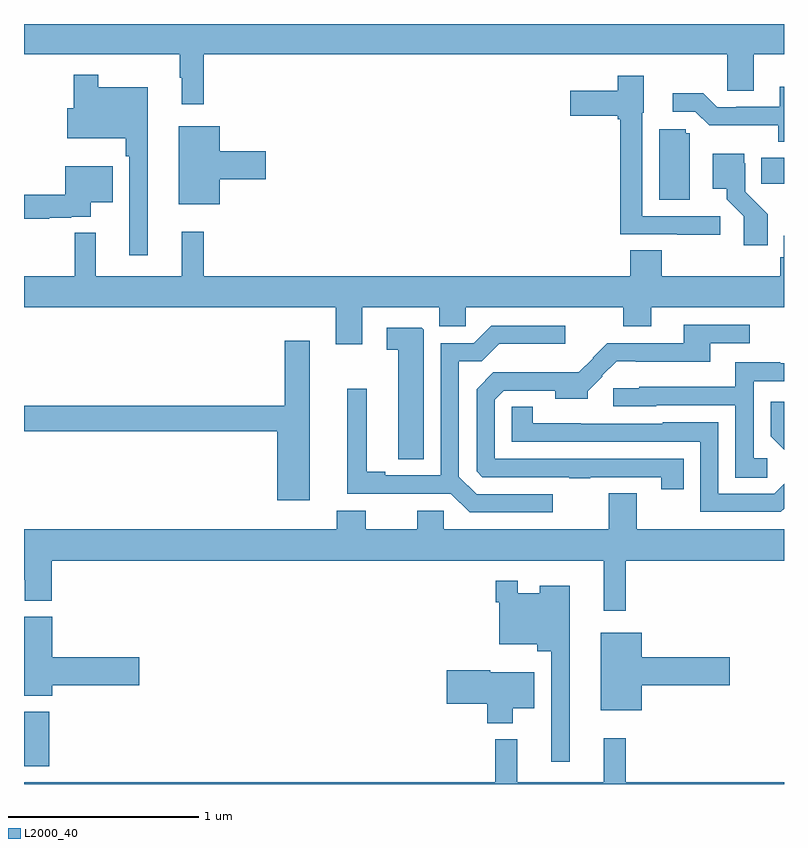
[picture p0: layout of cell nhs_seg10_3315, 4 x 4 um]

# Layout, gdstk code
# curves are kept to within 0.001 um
import gdstk
lib = gdstk.Library(unit=1e-6, precision=1e-09)
def R(c, l, rs):  # rectangles x0, y0, x1, y1
    for r in rs: c.add(gdstk.rectangle(r[:2], r[2:], *l))
def P(c, l, *ps):  # polygons
    for p in ps: c.add(gdstk.Polygon(p, *l))
L2000_40 = (2000, 40)

nhs_seg10_3315 = lib.new_cell('nhs_seg10_3315')
R(nhs_seg10_3315, L2000_40, [(291,1272.594,291.134,1272.879), (294.88,1275.658,295,1275.796)])
P(nhs_seg10_3315, L2000_40, [(291.947,1276.34),(294.702,1276.34),(294.702,1276.15),(294.841,1276.15),(294.841,1276.34),(295,1276.34),(295,1276.5),(291,1276.5),(291,1276.34),(291.819,1276.34),(291.819,1276.217),(291.83,1276.217),(291.83,1276.077),(291.947,1276.077)],
  [(291.652,1276.168),(291.391,1276.168),(291.391,1276.234),(291.262,1276.234),(291.262,1276.057),(291.228,1276.057),(291.228,1275.899),(291.535,1275.899),(291.535,1275.803),(291.555,1275.803),(291.555,1275.282),(291.652,1275.282)],
  [(294.664,1275.489),(294.255,1275.489),(294.255,1276.032),(294.262,1276.032),(294.262,1276.228),(294.126,1276.228),(294.126,1276.15),(293.874,1276.15),(293.874,1276.016),(294.126,1276.016),(294.126,1275.998),(294.139,1275.998),(294.139,1275.393),(294.439,1275.393),(294.439,1275.391),(294.664,1275.391)],
  [(295,1276.171),(294.977,1276.171),(294.977,1276.065),(294.748,1276.065),(294.748,1276.062),(294.648,1276.062),(294.575,1276.135),(294.414,1276.135),(294.414,1276.038),(294.534,1276.038),(294.607,1275.966),(294.97,1275.966),(294.97,1275.881),(295,1275.881)],
  [(292.03,1275.683),(292.273,1275.683),(292.273,1275.83),(292.03,1275.83),(292.03,1275.961),(291.815,1275.961),(291.815,1275.551),(292.03,1275.551)],
  [(294.505,1275.924),(294.483,1275.924),(294.483,1275.945),(294.344,1275.945),(294.344,1275.576),(294.505,1275.576)],
  [(294.914,1275.498),(294.795,1275.617),(294.795,1275.768),(294.79,1275.768),(294.79,1275.817),(294.626,1275.817),(294.626,1275.632),(294.698,1275.632),(294.698,1275.577),(294.789,1275.487),(294.789,1275.336),(294.914,1275.336)],
  [(291.134,1275.48),(291.248,1275.48),(291.248,1275.486),(291.352,1275.486),(291.352,1275.563),(291.466,1275.563),(291.466,1275.751),(291.218,1275.751),(291.218,1275.602),(291,1275.602),(291,1275.474),(291.134,1275.474)],
  [(292.78,1275.008),(293.186,1275.008),(293.186,1274.91),(293.325,1274.91),(293.325,1275.008),(294.154,1275.008),(294.154,1274.909),(294.301,1274.909),(294.301,1275.008),(295,1275.008),(295,1275.385),(294.999,1275.385),(294.999,1275.273),(294.979,1275.273),(294.979,1275.172),(294.356,1275.172),(294.356,1275.308),(294.191,1275.308),(294.191,1275.172),(291.947,1275.172),(291.947,1275.406),(291.83,1275.406),(291.83,1275.172),(291.377,1275.172),(291.377,1275.401),(291.268,1275.401),(291.268,1275.172),(291,1275.172),(291,1275.008),(292.64,1275.008),(292.64,1274.814),(292.78,1274.814)],
  [(294.473,1274.211),(293.478,1274.211),(293.478,1274.523),(293.526,1274.571),(293.795,1274.571),(293.795,1274.528),(293.966,1274.528),(293.966,1274.568),(294.045,1274.646),(294.042,1274.649),(294.119,1274.726),(294.22,1274.726),(294.22,1274.723),(294.613,1274.723),(294.613,1274.82),(294.82,1274.82),(294.82,1274.916),(294.473,1274.916),(294.473,1274.82),(294.069,1274.82),(293.993,1274.743),(293.995,1274.741),(293.921,1274.668),(293.587,1274.668),(293.587,1274.666),(293.471,1274.666),(293.382,1274.577),(293.382,1274.145),(293.412,1274.115),(293.869,1274.115),(293.869,1274.11),(293.981,1274.11),(293.981,1274.115),(294.355,1274.115),(294.355,1274.052),(294.473,1274.052)],
  [(293.782,1274.025),(293.382,1274.025),(293.289,1274.118),(293.289,1274.725),(293.41,1274.725),(293.501,1274.816),(293.848,1274.816),(293.848,1274.913),(293.46,1274.913),(293.367,1274.82),(293.193,1274.82),(293.193,1274.124),(292.9,1274.124),(292.9,1274.144),(292.804,1274.144),(292.804,1274.581),(292.7,1274.581),(292.7,1274.028),(293.246,1274.028),(293.345,1273.929),(293.782,1273.929)],
  [(293.104,1274.891),(293.094,1274.901),(292.908,1274.901),(292.908,1274.785),(292.97,1274.785),(292.97,1274.209),(293.104,1274.209)],
  [(292.504,1274.833),(292.373,1274.833),(292.373,1274.492),(291,1274.492),(291,1274.356),(292.334,1274.356),(292.334,1273.994),(292.504,1273.994)],
  [(294.913,1274.214),(294.84,1274.214),(294.84,1274.619),(295,1274.619),(295,1274.715),(294.979,1274.715),(294.979,1274.719),(294.743,1274.719),(294.743,1274.59),(294.237,1274.59),(294.237,1274.583),(294.102,1274.583),(294.102,1274.487),(294.327,1274.487),(294.327,1274.493),(294.744,1274.493),(294.744,1274.113),(294.913,1274.113)],
  [(295,1274.512),(294.93,1274.512),(294.93,1274.33),(295,1274.26)],
  [(295,1273.948),(295,1274.08),(294.948,1274.028),(294.654,1274.028),(294.654,1274.404),(294.363,1274.404),(294.363,1274.397),(293.677,1274.398),(293.677,1274.486),(293.568,1274.486),(293.568,1274.301),(294.558,1274.301),(294.558,1273.932),(294.984,1273.932)],
  [(294.167,1273.676),(295,1273.676),(295,1273.84),(294.225,1273.84),(294.225,1274.03),(294.077,1274.03),(294.077,1273.84),(293.208,1273.84),(293.208,1273.938),(293.069,1273.938),(293.069,1273.84),(292.798,1273.84),(292.798,1273.939),(292.646,1273.939),(292.646,1273.84),(291,1273.84),(291,1273.575),(291.005,1273.575),(291.005,1273.465),(291.146,1273.465),(291.146,1273.676),(294.05,1273.676),(294.05,1273.413),(294.167,1273.413)],
  [(293.872,1273.543),(293.714,1273.543),(293.714,1273.504),(293.598,1273.504),(293.598,1273.57),(293.482,1273.57),(293.482,1273.457),(293.502,1273.457),(293.502,1273.235),(293.702,1273.235),(293.702,1273.199),(293.775,1273.199),(293.775,1272.618),(293.872,1272.618)],
  [(291.149,1273.019),(291.607,1273.019),(291.607,1273.166),(291.149,1273.166),(291.149,1273.38),(291.002,1273.38),(291.002,1272.964),(291.149,1272.964)],
  [(294.25,1273.019),(294.715,1273.019),(294.715,1273.166),(294.25,1273.166),(294.25,1273.297),(294.035,1273.297),(294.035,1272.887),(294.25,1272.887)],
  [(293.572,1272.899),(293.686,1272.899),(293.686,1273.087),(293.454,1273.087),(293.454,1273.1),(293.226,1273.1),(293.226,1272.922),(293.438,1272.922),(293.438,1272.821),(293.572,1272.821)],
  [(295,1272.508),(294.167,1272.508),(294.167,1272.742),(294.05,1272.742),(294.05,1272.508),(293.597,1272.508),(293.597,1272.736),(293.479,1272.736),(293.479,1272.508),(291,1272.508),(291,1272.5),(295,1272.5)])

lib.write_gds('nhs_seg10_3315.gds')
